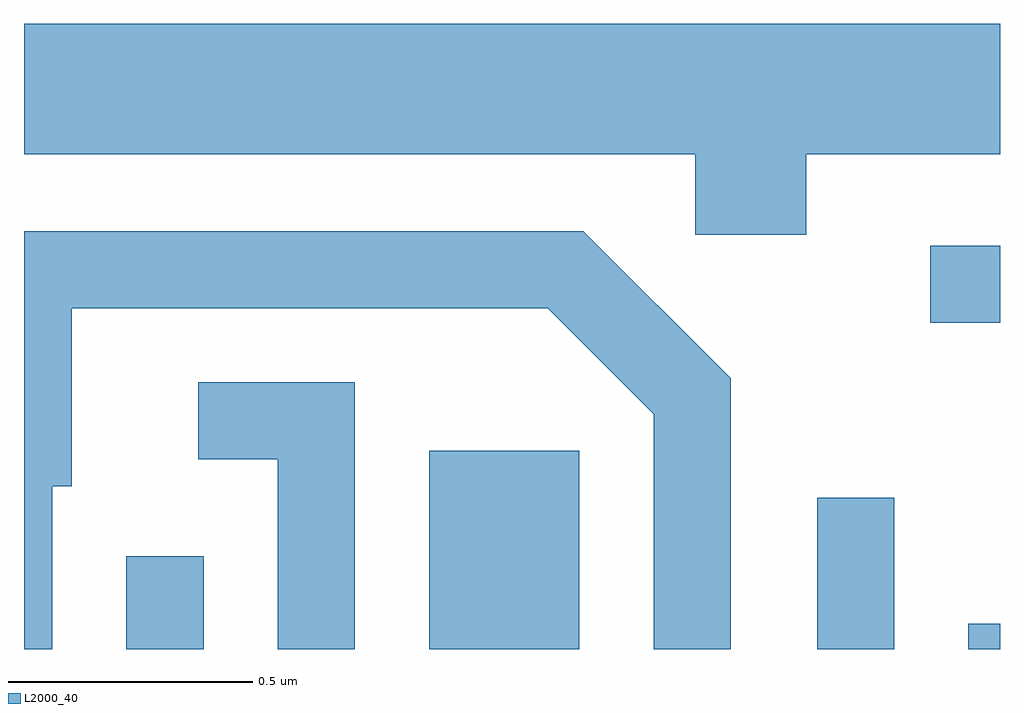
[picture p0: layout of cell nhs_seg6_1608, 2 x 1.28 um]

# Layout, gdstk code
import gdstk
lib = gdstk.Library(unit=1e-6, precision=1e-09)
def R(c, l, rs):  # rectangles x0, y0, x1, y1
    for r in rs: c.add(gdstk.rectangle(r[:2], r[2:], *l))
def P(c, l, *ps):  # polygons
    for p in ps: c.add(gdstk.Polygon(p, *l))
L2000_40 = (2000, 40)

nhs_seg6_1608 = lib.new_cell('nhs_seg6_1608')
R(nhs_seg6_1608, L2000_40, [(196.821,1631.162,196.979,1631.353), (197.441,1631.162,197.749,1631.569), (198.236,1631.162,198.394,1631.473), (198.546,1631.162,198.611,1631.214), (198.468,1631.831,198.611,1631.989)])
P(nhs_seg6_1608, L2000_40, [(198.214,1632.176),(198.611,1632.176),(198.611,1632.444),(196.611,1632.444),(196.611,1632.176),(197.986,1632.176),(197.986,1632.011),(198.214,1632.011)],
  [(196.669,1631.496),(196.709,1631.496),(196.709,1631.861),(197.684,1631.861),(197.901,1631.644),(197.901,1631.162),(198.059,1631.162),(198.059,1631.717),(197.757,1632.019),(196.611,1632.019),(196.611,1631.162),(196.669,1631.162)],
  [(197.289,1631.709),(196.968,1631.709),(196.968,1631.551),(197.131,1631.551),(197.131,1631.162),(197.289,1631.162)])

lib.write_gds('nhs_seg6_1608.gds')
